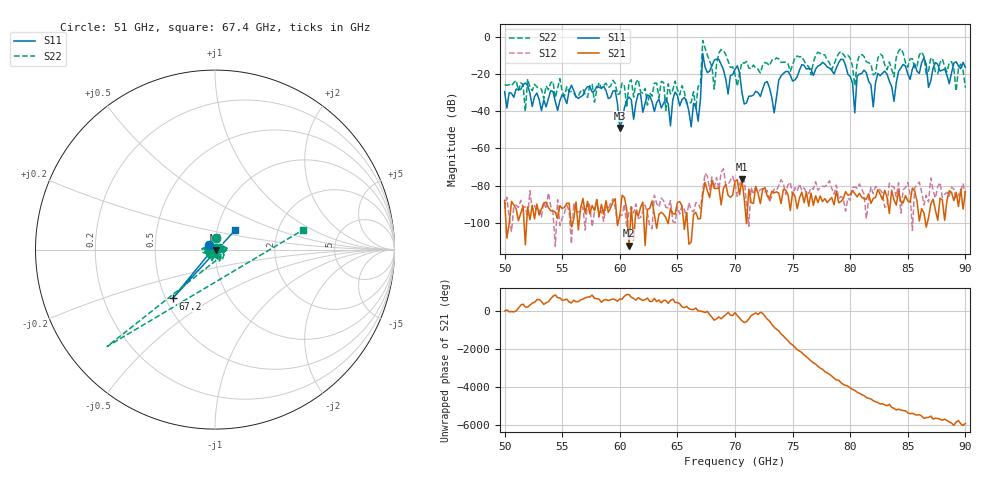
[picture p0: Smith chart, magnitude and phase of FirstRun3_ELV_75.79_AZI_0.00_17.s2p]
! 11/24/2026 3:34:55 PM
! C:\ANRITSUVNA\TEMP\TEMP.S2P
! CHANNEL.1
! TR.MEASUREMENT
! RAW.DATA
# HZ S RI R 50.0
! FREQ.HZ  S11RE  S11IM  S21RE  S21IM  S12RE  S12IM  S22RE  S22IM
!; PortSelection: Port_12
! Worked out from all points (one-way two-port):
!   201 points, 50 GHz to 90 GHz, reference 50 ohm
!   highest |S21| = -76.67 dB at 70.6 GHz (marker M1); lowest = -112.3 dB at 60.8 GHz (marker M2)
!   lowest |S11| = -48.9 dB at 60 GHz (marker M3), VSWR 1.01, Z = 50.3 - j0.154 ohm
!   |S11| at or under -10 dB: start of sweep to 67.19 GHz; 67.23 GHz to end of sweep
!   |S22| runs from -40.0 to -1.9 dB; largest |S21 - S12| = 0.00029
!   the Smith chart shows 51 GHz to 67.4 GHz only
!   S11 on the Smith chart (normalised r, x): 51 GHz: 0.94, +0.05; 67.2 GHz: 0.54, -0.34; 67.4 GHz: 1.22, +0.27
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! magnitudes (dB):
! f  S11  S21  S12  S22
! 50 GHz  -29.4  -88.0  -92.5  -25.6
! 51 GHz  -28.1  -92.4  -90.5  -23.4
! 51.8 GHz  -24.8  -111.8  -91.5  -40.0
! 52 GHz  -26.0  -91.4  -96.9  -22.6
! 56.8 GHz  -31.4  -86.9  -91.4  -28.1
! 59.6 GHz  -28.8  -87.1  -91.7  -25.0
! 60 GHz  -48.9  -96.1  -96.4  -30.5
! 60.8 GHz  -32.4  -112.3  -94.2  -24.2
! 63.4 GHz  -33.4  -95.4  -91.6  -32.6
! 66.8 GHz  -45.3  -98.0  -89.6  -26.5
! 67.2 GHz  -8.9  -85.1  -82.8  -1.9
! 67.4 GHz  -16.1  -78.3  -73.4  -5.9
! 68.2 GHz  -12.5  -81.5  -81.2  -28.0
! 68.8 GHz  -14.8  -90.4  -72.9  -6.7
! 70 GHz  -17.4  -77.8  -79.3  -19.9
! 70.6 GHz  -29.8  -76.7  -78.5  -13.6
! 76.8 GHz  -20.7  -90.6  -82.0  -13.6
! 79.4 GHz  -12.2  -87.1  -86.9  -9.4
! 80.4 GHz  -40.8  -84.3  -80.7  -26.2
! 80.6 GHz  -21.0  -86.1  -81.5  -14.0
! 83.4 GHz  -23.7  -95.0  -78.7  -13.5
! 90 GHz  -16.3  -83.2  -85.3  -27.3
